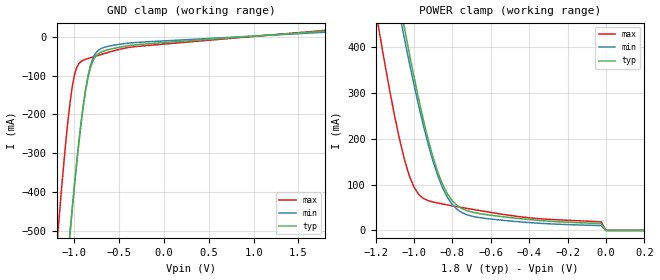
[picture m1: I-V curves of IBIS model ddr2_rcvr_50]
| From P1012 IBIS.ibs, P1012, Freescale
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| * 8520 DDR2 Receiver Model - 50 Ohm Termination *
[Model]   ddr2_rcvr_50
Model_type Input
Polarity   Non-Inverting
Vinl = 0.7V
Vinh = 1.1V
|   typ   min   max
C_comp   3.628490e-12   2.023010e-12   4.796400e-12
|   typ   min   max
[Voltage range]   1.8V   1.7V   1.9V
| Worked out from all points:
|   POWER clamp passes 1 mA (typ) near -0.00 V on its own axis
[GND_clamp]
| Voltage   I(typ)   I(min)   I(max)
-1.8V     -2.785A    -2.737A    -2.438A
-1.2V     -925mA     -914.4mA   -547.2mA
-1.175V   -852.7mA   -843.4mA   -476.4mA
-1.1V     -642.2mA   -636.4mA   -279.3mA
-1.05V    -508.8mA   -505mA     -171.1mA
-1V       -383.8mA   -381.5mA   -98.69mA
-975mV    -325.5mA   -323.6mA   -79.39mA
-875mV    -138.1mA   -134.7mA   -58.15mA
-800mV    -66.25mA   -59.04mA   -52.52mA
-725mV    -42.51mA   -33.45mA   -47.22mA
-300mV    -20.3mA    -14.57mA   -24.9mA
1.8V      14.63mA    11.58mA    16.44mA
[POWER_clamp]
| Table entry for 0V is set to 0.00 to avoid
| double counting with GND_clamp table
| Voltage   I(typ)   I(min)   I(max)
-1.8V     2.415A     2.268A     2.146A
-1.2V     802mA      756.6mA    481.7mA
-1.175V   739.6mA    698mA      419.8mA
-1.075V   499.7mA    472.8mA    198.8mA
-1.05V    443.1mA    419.5mA    155.5mA
-1V       335.8mA    318.5mA    94.54mA
-950mV    239.4mA    227.2mA    69.71mA
-900mV    158.8mA    150.1mA    62.05mA
-850mV    99.64mA    92.1mA     57.76mA
-750mV    47.73mA    38.84mA    50.16mA
0V        0A         0A         0A
200mV     0A         0A         0A
